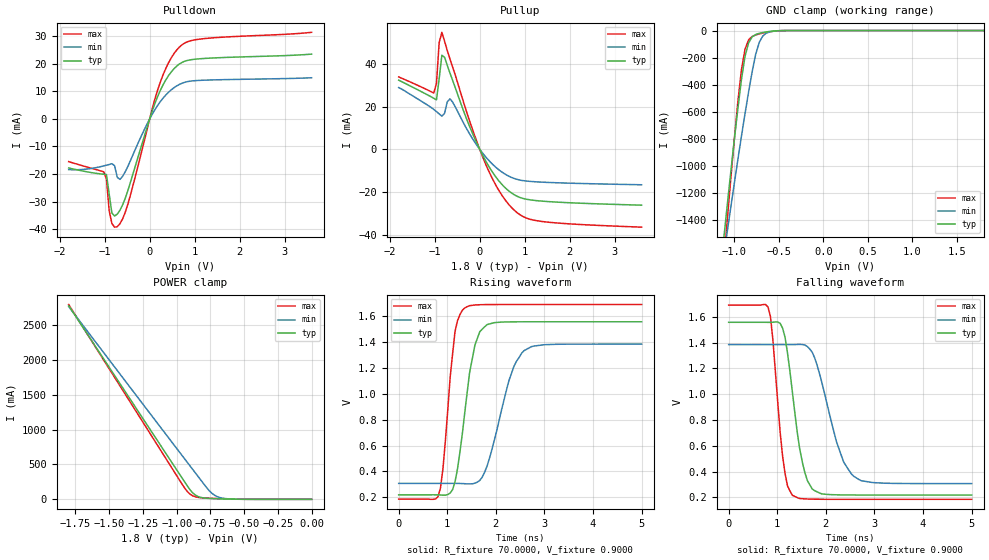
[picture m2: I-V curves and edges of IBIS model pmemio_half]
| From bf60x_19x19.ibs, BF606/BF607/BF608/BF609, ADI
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[Model]  pmemio_half
Model_type I/O
Polarity   Non-Inverting
Enable   Active-Low
Vinl =   0.6500V
Vinh =   1.1500V
Vmeas =  0.9000V
Cref =   5.0000pF
Rref =   70.0000
Vref =   0.9000V
C_comp   3.6123pF   3.9509pF   3.3683pF
[Temperature Range]   25.0000   0.1250k   0.0
[Voltage Range]   1.8000V   1.7000V   1.9000V
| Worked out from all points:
|   slope of the pulldown table from 0 to 0.27 V, typ, clamps not added: 23.5 ohm
|   slope of the pullup table from 0 to 0.27 V, typ, clamps not added: 26.3 ohm
|   GND clamp passes 1 mA (typ) near -0.49 V on its own axis
|   POWER clamp passes 1 mA (typ) near -0.53 V on its own axis
|   rising waveform, R_fixture 70.0000, V_fixture 0.9000: 20-80 % time 288ps typ, 447ps min, 207ps max; typ from 0.219 V to 1.56 V
|   falling waveform, R_fixture 70.0000, V_fixture 0.9000: 20-80 % time 288ps typ, 458ps min, 206ps max; typ from 1.56 V to 0.219 V
[Pulldown]
|Voltage   I(typ)   I(min)   I(max)
-1.8V     -17.81mA   -18.4mA    -15.51mA
-1.02V    -20.1mA    -17.05mA   -19.21mA
-960mV    -20.2mA    -16.81mA   -21.87mA
-900mV    -27.22mA   -16.55mA   -33.33mA
-840mV    -34.17mA   -16.26mA   -37.96mA
-780mV    -35.26mA   -16.94mA   -39.32mA
-720mV    -34.59mA   -21.21mA   -39.17mA
-480mV    -25.82mA   -17.09mA   -30.75mA
240mV     10.49mA    6.362mA    13.53mA
660mV     19.97mA    12.55mA    26.11mA
1.2V      21.98mA    14.09mA    29.19mA
3.6V      23.58mA    14.99mA    31.5mA
[Pullup]
|Voltage   I(typ)   I(min)   I(max)
-1.8V     32.34mA    28.88mA    33.85mA
-1.02V    23.85mA    18.64mA    26.32mA
-960mV    23.13mA    17.63mA    30.81mA
-900mV    32.98mA    16.53mA    49.91mA
-840mV    44.01mA    15.49mA    54.74mA
-660mV    35.66mA    23.59mA    42.27mA
-240mV    11.52mA    7.772mA    14.28mA
120mV     -4.955mA   -3.244mA   -6.328mA
420mV     -14.66mA   -9.536mA   -19.06mA
720mV     -20.68mA   -13.33mA   -27.57mA
1.32V     -24.2mA    -15.36mA   -33.65mA
3.6V      -26.22mA   -16.66mA   -36.51mA
[GND_clamp]
|Voltage   I(typ)   I(min)   I(max)
-1.8V     -6.07A     -4.897A    -7.407A
-1.12V    -1.546A    -1.671A    -1.719A
-1.08V    -1.294A    -1.488A    -1.405A
-1V       -805.6mA   -1.129A    -801.4mA
-960mV    -575.4mA   -952.7mA   -523.3mA
-920mV    -361.5mA   -780.6mA   -288.5mA
-880mV    -190.9mA   -613.7mA   -138.4mA
-840mV    -90.93mA   -454mA     -68.72mA
-800mV    -46.73mA   -305.2mA   -43.97mA
-720mV    -20.7mA    -86.99mA   -25.13mA
-600mV    -6.426mA   -9.601mA   -8.755mA
1.8V      90.38pA    38.35nA    69.58pA
[POWER_clamp]
|Voltage   I(typ)   I(min)   I(max)
-1.8V     2.775A     2.761A     2.791A
-960mV    306.4mA    628.6mA    218.5mA
-920mV    189.6mA    527.3mA    109.9mA
-900mV    135.2mA    476.7mA    73.19mA
-880mV    91.17mA    426mA      49.38mA
-840mV    39.16mA    324.6mA    27.86mA
-760mV    13.35mA    127mA      16mA
-720mV    9.728mA    59.79mA    12.42mA
-680mV    7.06mA     25.51mA    9.286mA
-540mV    1.159mA    1.976mA    1.7mA
0V        90.38pA    3.773nA    81.3pA
[Ramp]
| variable   typ   min   max
dV/dt_r  0.6316/0.3205n   0.4413/0.4849n   0.7626/0.2370n
dV/dt_f  0.6255/0.3890n   0.4177/0.5470n   0.7652/0.2922n
R_load = 50.0000
[Rising Waveform]
R_fixture= 70.0000
V_fixture= 0.9000
V_fixture_min= 0.8500
V_fixture_max= 0.9500
L_fixture= 0.0H
C_fixture= 0.0F
|time   V(typ)   V(min)   V(max)
0s        218.8mV    307.4mV    185.5mV
810ps     218.3mV    307.4mV    203.9mV
910ps     216mV      307.4mV    416.6mV
1.16ns    318.9mV    307.3mV    1.482V
1.36ns    854mV      304.7mV    1.664V
1.46ns    1.164V     303.5mV    1.682V
1.67ns    1.481V     330.3mV    1.689V
2.27ns    1.556V     1.102V     1.69V
2.58ns    1.557V     1.333V     1.69V
5ns       1.557V     1.384V     1.691V
[Falling Waveform]
R_fixture= 70.0000
V_fixture= 0.9000
V_fixture_min= 0.8500
V_fixture_max= 0.9500
L_fixture= 0.0H
C_fixture= 0.0F
|time   V(typ)   V(min)   V(max)
0s        1.557V     1.385V     1.691V
810ps     1.557V     1.384V     1.675V
910ps     1.558V     1.384V     1.422V
1.11ns    1.512V     1.385V     519.7mV
1.31ns    1.021V     1.384V     217.2mV
1.52ns    467.1mV    1.385V     190.3mV
1.77ns    252.5mV    1.281V     186.6mV
2.22ns    220.6mV    630.9mV    185.6mV
2.58ns    219.1mV    362.6mV    185.5mV
5ns       218.8mV    307.4mV    185.5mV
